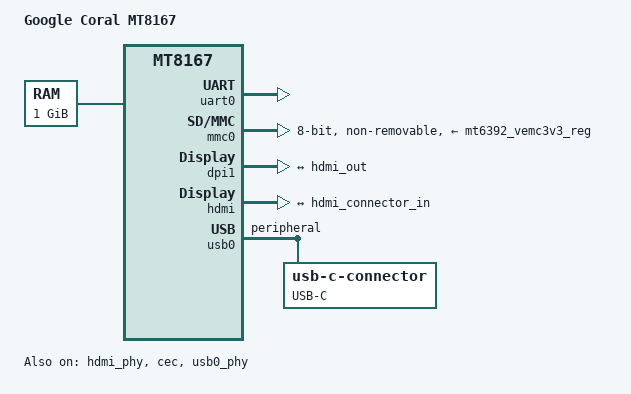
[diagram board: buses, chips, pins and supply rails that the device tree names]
// SPDX-License-Identifier: GPL-2.0
/*
 * Copyright (c) 2019 BayLibre, SAS.
 * Author: Fabien Parent <fparent@baylibre.com>
 */

/dts-v1/;

#include <dt-bindings/gpio/gpio.h>

#include "mt8167.dtsi"
#include "mt6392.dtsi"

/ {
	model = "Google Coral MT8167";

	aliases {
		serial0 = &uart0;
	};

	chosen {
		stdout-path = "serial0:921600n8";
	};

	memory@40000000 {
		device_type = "memory";
		reg = <0 0x40000000 0 0x40000000>;
	};

	firmware {
		optee: optee@4fd00000 {
			compatible = "linaro,optee-tz";
			method = "smc";
		};
	};
};

&cpu0 {
	proc-supply = <&mt6392_vproc_reg>;
};

&cpu1 {
	proc-supply = <&mt6392_vproc_reg>;
};

&cpu2 {
	proc-supply = <&mt6392_vproc_reg>;
};

&cpu3 {
	proc-supply = <&mt6392_vproc_reg>;
};

&mt6392_pmic {
	interrupt-parent = <&pio>;
	interrupts = <28 IRQ_TYPE_LEVEL_HIGH>;
	interrupt-controller;
	#interrupt-cells = <2>;
};

&uart0 {
	status = "okay";
};

&pio {
	mmc0_pins_default: mmc0default {
		pins_cmd_dat {
			pinmux = <MT8167_PIN_120_MSDC0_DAT0__FUNC_MSDC0_DAT0>,
				 <MT8167_PIN_119_MSDC0_DAT1__FUNC_MSDC0_DAT1>,
				 <MT8167_PIN_118_MSDC0_DAT2__FUNC_MSDC0_DAT2>,
				 <MT8167_PIN_117_MSDC0_DAT3__FUNC_MSDC0_DAT3>,
				 <MT8167_PIN_113_MSDC0_DAT4__FUNC_MSDC0_DAT4>,
				 <MT8167_PIN_112_MSDC0_DAT5__FUNC_MSDC0_DAT5>,
				 <MT8167_PIN_111_MSDC0_DAT6__FUNC_MSDC0_DAT6>,
				 <MT8167_PIN_110_MSDC0_DAT7__FUNC_MSDC0_DAT7>,
				 <MT8167_PIN_115_MSDC0_CMD__FUNC_MSDC0_CMD>;
			input-enable;
			bias-pull-up;
		};

		pins_clk {
			pinmux = <MT8167_PIN_116_MSDC0_CLK__FUNC_MSDC0_CLK>;
			bias-pull-down;
		};

		pins_rst {
			pinmux = <MT8167_PIN_114_MSDC0_RSTB__FUNC_MSDC0_RSTB>;
			bias-pull-up;
		};
	};

	mmc0_pins_uhs: mmc0@0{
		pins_cmd_dat {
			pinmux = <MT8167_PIN_120_MSDC0_DAT0__FUNC_MSDC0_DAT0>,
				 <MT8167_PIN_119_MSDC0_DAT1__FUNC_MSDC0_DAT1>,
				 <MT8167_PIN_118_MSDC0_DAT2__FUNC_MSDC0_DAT2>,
				 <MT8167_PIN_117_MSDC0_DAT3__FUNC_MSDC0_DAT3>,
				 <MT8167_PIN_113_MSDC0_DAT4__FUNC_MSDC0_DAT4>,
				 <MT8167_PIN_112_MSDC0_DAT5__FUNC_MSDC0_DAT5>,
				 <MT8167_PIN_111_MSDC0_DAT6__FUNC_MSDC0_DAT6>,
				 <MT8167_PIN_110_MSDC0_DAT7__FUNC_MSDC0_DAT7>,
				 <MT8167_PIN_115_MSDC0_CMD__FUNC_MSDC0_CMD>;
			input-enable;
			drive-strength = <MTK_DRIVE_6mA>;
			bias-pull-up = <MTK_PUPD_SET_R1R0_01>;
		};

		pins_clk {
			pinmux = <MT8167_PIN_116_MSDC0_CLK__FUNC_MSDC0_CLK>;
			drive-strength = <MTK_DRIVE_8mA>;
			bias-pull-down = <MTK_PUPD_SET_R1R0_10>;
		};

		pins_rst {
			pinmux = <MT8167_PIN_114_MSDC0_RSTB__FUNC_MSDC0_RSTB>;
			bias-pull-up;
		};
	};

	hdmi_pins_default: hdmi_pins_default {
	};

	hdmi_pins_hpd: hdmi_pins_hpd {
		pins_cmd_dat {
			pinmux = <MT8167_PIN_122_HTPLG__FUNC_HTPLG>;
			bias-pull-down;
		};
	};
};

&mmc0 {
	pinctrl-names = "default", "state_uhs";
	pinctrl-0 = <&mmc0_pins_default>;
	pinctrl-1 = <&mmc0_pins_uhs>;
	status = "okay";
	bus-width = <8>;
	max-frequency = <200000000>;
	cap-mmc-highspeed;
	mmc-hs200-1_8v;
	cap-mmc-hw-reset;
	vmmc-supply = <&mt6392_vemc3v3_reg>;
	vqmmc-supply = <&mt6392_vio18_reg>;
	non-removable;
};

&dpi1 {
	status = "okay";
	ddc-i2c-bus = <&hdmiddc>;

	port {
		hdmi_connector_in: endpoint@0 {
			remote-endpoint = <&hdmi_out>;
		};
	};
};

&hdmi_phy {
	status = "okay";
};

&cec {
	status = "okay";
};

&hdmi {
	pinctrl-names = "default", "hdmi_hpd";
	pinctrl-0 = <&hdmi_pins_default>;
	pinctrl-1 = <&hdmi_pins_hpd>;
	status = "okay";

	ports {
		#address-cells = <1>;
		#size-cells = <0>;

		port@1 {
			reg = <1>;

			hdmi_out: endpoint {
				remote-endpoint = <&hdmi_connector_in>;
			};
		};
	};
};

&usb0 {
	status = "okay";
	dr_mode = "peripheral";

	usb_con: connector {
		compatible = "usb-c-connector";
		label = "USB-C";
	};
};

&usb0_phy {
	status = "okay";
};
